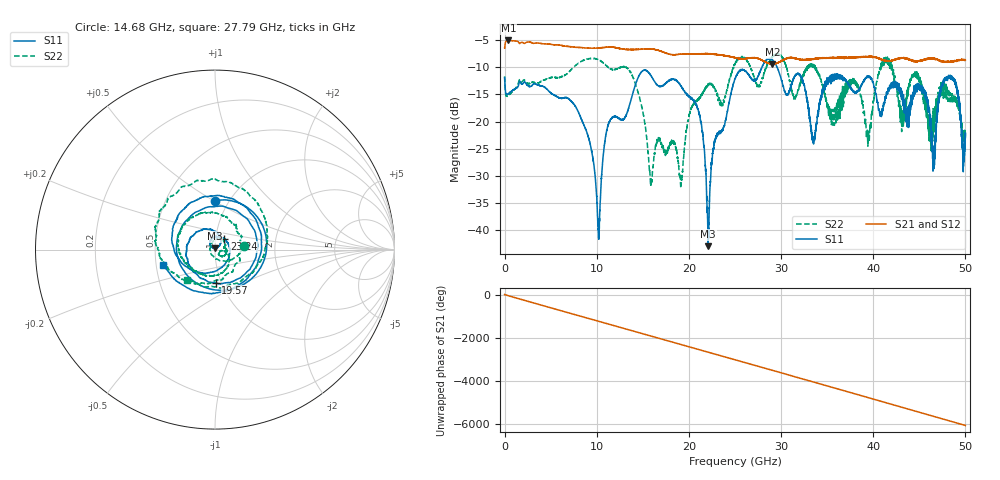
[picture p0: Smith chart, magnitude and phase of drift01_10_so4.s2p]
!Created with skrf (http://scikit-rf.org).
# Hz S RI R 50.0
!freq ReS11 ImS11 ReS21 ImS21 ReS12 ImS12 ReS22 ImS22
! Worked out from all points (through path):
!   10001 points, 300 kHz to 50 GHz, reference 50 ohm
!   highest |S21| = -5.05 dB at 415.3 MHz (marker M1); lowest = -9.4 dB at 29.06 GHz (marker M2)
!   group delay of S21, straight-line fit = 336 ps
!   lowest |S11| = -42.9 dB at 22.09 GHz (marker M3), VSWR 1.01, Z = 49.8 + j0.693 ohm
!   |S11| at or under -10 dB: start of sweep to 27.92 GHz; 29.57804 GHz to 29.58369 GHz (5.653 MHz wide, 0.0191 % of centre); 29.59 GHz to end of sweep
!   |S22| runs from -32.0 to -7.5 dB; largest |S21 - S12| = 0.012
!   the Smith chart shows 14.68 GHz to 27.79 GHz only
!   S11 on the Smith chart (normalised r, x): 14.68 GHz: 0.87, +0.51; 19.57 GHz: 0.94, -0.36; 23.24 GHz: 1.10, +0.13; 27.79 GHz: 0.55, -0.10
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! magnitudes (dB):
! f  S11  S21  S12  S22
! 300 kHz  -11.9  -6.4  -6.5  -11.7
! 415.3 MHz  -14.8  -5.1  -5.1  -15.1
! 8.335 GHz  -19.6  -6.4  -6.4  -8.9
! 10.2 GHz  -41.1  -6.4  -6.4  -8.6
! 11.23 GHz  -20.7  -6.3  -6.3  -10.0
! 14.68 GHz  -11.3  -6.7  -6.7  -15.8
! 15.87 GHz  -11.5  -6.6  -6.6  -31.5
! 16.67 GHz  -13.4  -6.9  -6.9  -23.1
! 19.57 GHz  -14.6  -7.5  -7.5  -24.0
! 21.2 GHz  -19.0  -7.5  -7.5  -15.5
! 22.09 GHz  -42.9  -7.5  -7.5  -13.4
! 23.24 GHz  -22.0  -7.7  -7.7  -15.6
! 25 GHz  -12.1  -8.2  -8.3  -9.4
! 27.79 GHz  -10.5  -8.6  -8.6  -12.8
! 29.06 GHz  -8.7  -9.4  -9.4  -8.0
! 33.34 GHz  -22.7  -8.5  -8.5  -9.5
! 39.47 GHz  -11.6  -8.1  -8.0  -22.6
! 41.67 GHz  -14.0  -8.8  -8.8  -8.9
! 45.36 GHz  -13.8  -8.7  -8.7  -13.6
! 46.55 GHz  -28.5  -8.4  -8.3  -20.0
! 48.53 GHz  -11.8  -9.0  -8.9  -15.2
! 50 GHz  -22.9  -8.7  -8.7  -22.8
